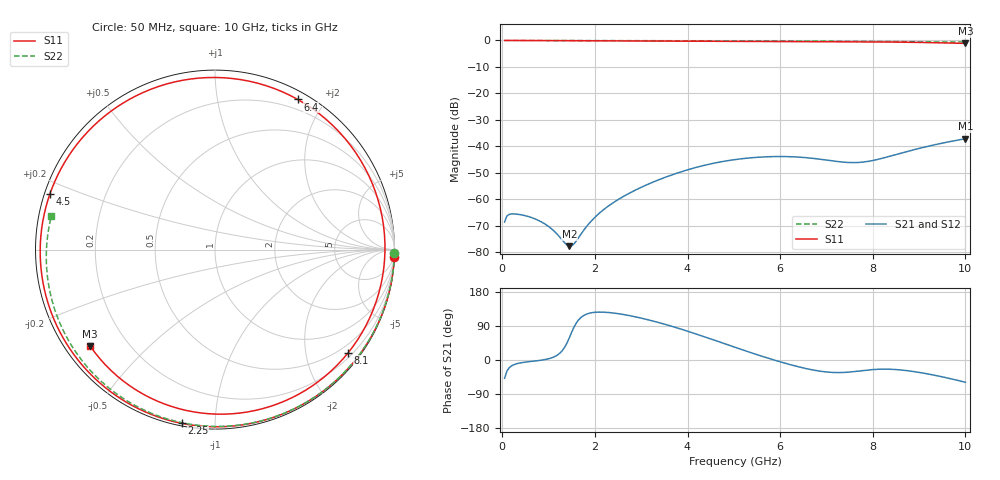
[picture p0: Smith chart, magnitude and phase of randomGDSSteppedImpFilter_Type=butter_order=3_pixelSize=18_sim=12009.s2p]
! freq	dB(S11)	phase(S11)	dB(S12)	phase(S12)
!  dB(S21)	phase(S21)	dB(S22)	phase(S22)
!S-par simulation data
#  GHz  S  DB  R 50
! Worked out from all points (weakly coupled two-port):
!   200 points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, 50 MHz to 10 GHz, reference 50 ohm
!   highest |S21| = -37.19 dB at 10 GHz (marker M1); lowest = -77.8 dB at 1.45 GHz (marker M2)
!   lowest |S11| = -1.1 dB at 10 GHz (marker M3), VSWR 15.52, Z = 3.6 - j17 ohm
!   |S11| at or under -10 dB: nowhere
!   |S22| runs from -0.6 to 0.0 dB; largest |S21 - S12| = 0
!   S11 on the Smith chart (normalised r, x): 50 MHz: 0, -49; 2.25 GHz: 0.01, -0.83; 4.5 GHz: 0.02, +0.16; 6.4 GHz: 0.09, +1.69; 8.1 GHz: 0.30, -2.89; 10 GHz: 0.07, -0.34
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0.05  -0.00 -2.3  -68.68 -48.2  -68.68 -48.2  -0.00 -1.1
0.1  -0.00 -4.7  -66.35 -29.2  -66.35 -29.2  -0.00 -2.1
0.2  -0.00 -9.3  -65.62 -15.4  -65.62 -15.4  -0.00 -4.2
0.65  -0.03 -30.1  -67.11 -3.4  -67.11 -3.4  -0.01 -13.6
1  -0.05 -46.1  -70.37 3.3  -70.37 3.3  -0.03 -20.8
1.45  -0.08 -66.1  -77.81 59.3  -77.81 59.3  -0.04 -30.0
1.75  -0.10 -79.3  -71.98 116.9  -71.98 116.9  -0.05 -36.1
2.25  -0.12 -100.8  -63.15 125.8  -63.15 125.8  -0.06 -46.1
2.8  -0.15 -124.2  -57.25 115.8  -57.25 115.8  -0.07 -56.9
3.4  -0.18 -149.7  -52.55 98.1  -52.55 98.1  -0.09 -68.4
3.95  -0.22 -173.6  -49.20 78.0  -49.20 78.0  -0.11 -78.7
4.5  -0.26 161.4  -46.68 55.6  -46.68 55.6  -0.13 -88.9
5.05  -0.30 134.8  -44.99 32.5  -44.99 32.5  -0.15 -98.9
5.75  -0.35 98.0  -43.97 4.5  -43.97 4.5  -0.19 -111.4
6.4  -0.40 61.1  -44.12 -18.0  -44.12 -18.0  -0.23 -122.9
6.7  -0.42 43.5  -44.58 -26.2  -44.58 -26.2  -0.25 -128.2
7.4  -0.47 2.2  -46.08 -32.7  -46.08 -32.7  -0.31 -140.7
8.1  -0.55 -37.8  -45.02 -24.5  -45.02 -24.5  -0.38 -153.5
8.35  -0.59 -51.6  -43.89 -24.3  -43.89 -24.3  -0.41 -158.2
9.15  -0.78 -94.8  -40.20 -35.9  -40.20 -35.9  -0.50 -173.7
9.55  -0.92 -116.6  -38.66 -45.8  -38.66 -45.8  -0.56 178.1
10  -1.12 -142.2  -37.19 -58.8  -37.19 -58.8  -0.62 168.4
